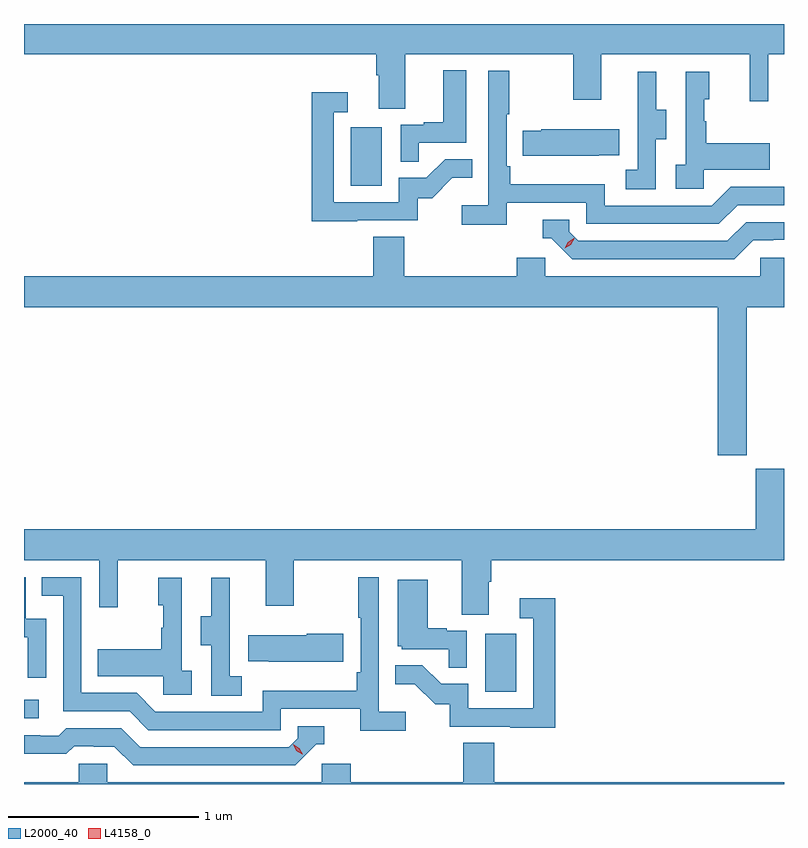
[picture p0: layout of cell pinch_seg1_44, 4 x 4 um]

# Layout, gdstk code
import gdstk
lib = gdstk.Library(unit=1e-6, precision=1e-09)
def R(c, l, rs):  # rectangles x0, y0, x1, y1
    for r in rs: c.add(gdstk.rectangle(r[:2], r[2:], *l))
def P(c, l, *ps):  # polygons
    for p in ps: c.add(gdstk.Polygon(p, *l))
L2000_40 = (2000, 40)
L4158_0 = (4158, 0)

pinch_seg1_44 = lib.new_cell('pinch_seg1_44')
R(pinch_seg1_44, L2000_40, [(1083.124,568.218,1083.202,568.314), (1085.552,568.356,1085.716,568.663), (1084.844,571.02,1085.008,571.327)])
P(pinch_seg1_44, L2000_40, [(1085.131,571.712),(1086.016,571.712),(1086.016,571.473),(1086.163,571.473),(1086.163,571.712),(1086.944,571.712),(1086.944,571.464),(1087.041,571.464),(1087.041,571.712),(1087.124,571.712),(1087.124,571.871),(1083.124,571.871),(1083.124,571.712),(1084.979,571.712),(1084.979,571.6),(1084.991,571.6),(1084.991,571.426),(1085.131,571.426)],
  [(1085.201,571.245),(1085.452,571.245),(1085.452,571.627),(1085.33,571.627),(1085.33,571.354),(1085.227,571.354),(1085.227,571.341),(1085.106,571.341),(1085.106,571.147),(1085.201,571.147)],
  [(1085.666,570.93),(1086.084,570.93),(1086.084,570.819),(1086.781,570.819),(1086.88,570.918),(1087.124,570.918),(1087.124,571.014),(1086.843,571.014),(1086.744,570.915),(1086.18,570.915),(1086.18,571.027),(1085.684,571.027),(1085.684,571.123),(1085.664,571.123),(1085.664,571.396),(1085.677,571.396),(1085.677,571.624),(1085.568,571.624),(1085.568,570.916),(1085.427,570.916),(1085.427,570.814),(1085.666,570.814)],
  [(1086.702,571.103),(1087.049,571.103),(1087.049,571.243),(1086.715,571.243),(1086.715,571.358),(1086.705,571.358),(1086.705,571.476),(1086.73,571.476),(1086.73,571.621),(1086.606,571.621),(1086.606,571.13),(1086.555,571.13),(1086.555,571.005),(1086.702,571.005)],
  [(1086.45,571.264),(1086.505,571.264),(1086.505,571.419),(1086.451,571.419),(1086.451,571.621),(1086.353,571.621),(1086.353,571.407),(1086.354,571.407),(1086.354,571.103),(1086.291,571.103),(1086.291,571),(1086.45,571)],
  [(1084.877,570.837),(1085.196,570.837),(1085.196,570.954),(1085.272,570.954),(1085.379,571.061),(1085.483,571.061),(1085.483,571.16),(1085.34,571.16),(1085.242,571.062),(1085.097,571.062),(1085.097,570.933),(1084.755,570.933),(1084.755,571.407),(1084.828,571.407),(1084.828,571.513),(1084.639,571.513),(1084.639,570.832),(1084.877,570.832)],
  [(1086.149,571.181),(1086.257,571.181),(1086.257,571.318),(1085.847,571.318),(1085.847,571.308),(1085.749,571.308),(1085.749,571.178),(1086.149,571.178)],
  [(1086.961,570.732),(1087.068,570.732),(1087.068,570.735),(1087.124,570.735),(1087.124,570.828),(1086.924,570.828),(1086.825,570.729),(1086.042,570.729),(1085.994,570.777),(1085.994,570.84),(1085.855,570.84),(1085.855,570.744),(1085.898,570.744),(1086.009,570.633),(1086.862,570.633)],
  [(1086.928,570.38),(1087.124,570.38),(1087.124,570.642),(1086.999,570.642),(1086.999,570.544),(1085.868,570.544),(1085.868,570.642),(1085.717,570.642),(1085.717,570.544),(1085.126,570.544),(1085.126,570.752),(1084.961,570.752),(1084.961,570.544),(1083.124,570.544),(1083.124,570.38),(1086.776,570.38),(1086.776,569.601),(1086.928,569.601)],
  [(1085.569,568.936),(1085.582,568.936),(1085.582,569.048),(1087.124,569.048),(1087.124,569.529),(1086.974,569.529),(1086.974,569.212),(1083.124,569.212),(1083.124,569.048),(1083.519,569.048),(1083.519,568.8),(1083.617,568.8),(1083.617,569.048),(1084.397,569.048),(1084.397,568.809),(1084.545,568.809),(1084.545,569.048),(1085.429,569.048),(1085.429,568.762),(1085.569,568.762)],
  [(1085.134,568.252),(1084.992,568.252),(1084.992,568.96),(1084.884,568.96),(1084.884,568.747),(1084.896,568.747),(1084.896,568.459),(1084.876,568.459),(1084.876,568.363),(1084.38,568.363),(1084.38,568.251),(1083.816,568.251),(1083.717,568.35),(1083.426,568.35),(1083.426,568.959),(1083.217,568.959),(1083.217,568.863),(1083.33,568.863),(1083.33,568.254),(1083.68,568.254),(1083.779,568.155),(1084.476,568.155),(1084.476,568.266),(1084.895,568.266),(1084.895,568.15),(1085.134,568.15)],
  [(1083.24,568.74),(1083.132,568.74),(1083.132,568.959),(1083.124,568.959),(1083.124,568.643),(1083.144,568.643),(1083.144,568.431),(1083.24,568.431)],
  [(1084.006,568.466),(1083.954,568.466),(1083.954,568.957),(1083.83,568.957),(1083.83,568.812),(1083.856,568.812),(1083.856,568.694),(1083.846,568.694),(1083.846,568.579),(1083.511,568.579),(1083.511,568.439),(1083.858,568.439),(1083.858,568.341),(1084.006,568.341)],
  [(1084.27,568.439),(1084.206,568.439),(1084.206,568.743),(1084.208,568.743),(1084.208,568.957),(1084.109,568.957),(1084.109,568.755),(1084.055,568.755),(1084.055,568.6),(1084.11,568.6),(1084.11,568.336),(1084.27,568.336)],
  [(1085.454,568.677),(1085.348,568.677),(1085.348,568.69),(1085.248,568.69),(1085.248,568.945),(1085.09,568.945),(1085.09,568.596),(1085.112,568.596),(1085.112,568.581),(1085.359,568.581),(1085.359,568.483),(1085.454,568.483)],
  [(1085.921,568.849),(1085.733,568.849),(1085.733,568.743),(1085.805,568.743),(1085.805,568.269),(1085.463,568.269),(1085.463,568.398),(1085.319,568.398),(1085.221,568.496),(1085.077,568.496),(1085.077,568.397),(1085.181,568.397),(1085.288,568.29),(1085.365,568.29),(1085.365,568.173),(1085.683,568.173),(1085.683,568.168),(1085.921,568.168)],
  [(1084.804,568.662),(1084.613,568.662),(1084.613,568.654),(1084.303,568.654),(1084.303,568.517),(1084.411,568.517),(1084.411,568.514),(1084.804,568.514)],
  [(1084.662,568.08),(1084.705,568.08),(1084.705,568.176),(1084.566,568.176),(1084.566,568.113),(1084.518,568.065),(1083.735,568.065),(1083.636,568.164),(1083.347,568.164),(1083.308,568.125),(1083.209,568.125),(1083.209,568.128),(1083.124,568.128),(1083.124,568.029),(1083.347,568.029),(1083.389,568.071),(1083.492,568.071),(1083.492,568.068),(1083.599,568.068),(1083.698,567.969),(1084.551,567.969)],
  [(1087.124,567.88),(1085.6,567.88),(1085.6,568.088),(1085.435,568.088),(1085.435,567.88),(1084.844,567.88),(1084.844,567.978),(1084.692,567.978),(1084.692,567.88),(1083.561,567.88),(1083.561,567.978),(1083.411,567.978),(1083.411,567.88),(1083.124,567.88),(1083.124,567.871),(1087.124,567.871)])
P(pinch_seg1_44, L4158_0, [(1084.589,568.027),(1084.558,568.046),(1084.542,568.079),(1084.542,568.079),(1084.542,568.079),(1084.573,568.06),(1084.59,568.028),(1084.59,568.027)],
  [(1085.971,570.691),(1085.971,570.691),(1085.987,570.723),(1086.018,570.743),(1086.019,570.743),(1086.019,570.742),(1086.002,570.71),(1085.971,570.691)])

lib.write_gds('pinch_seg1_44.gds')
